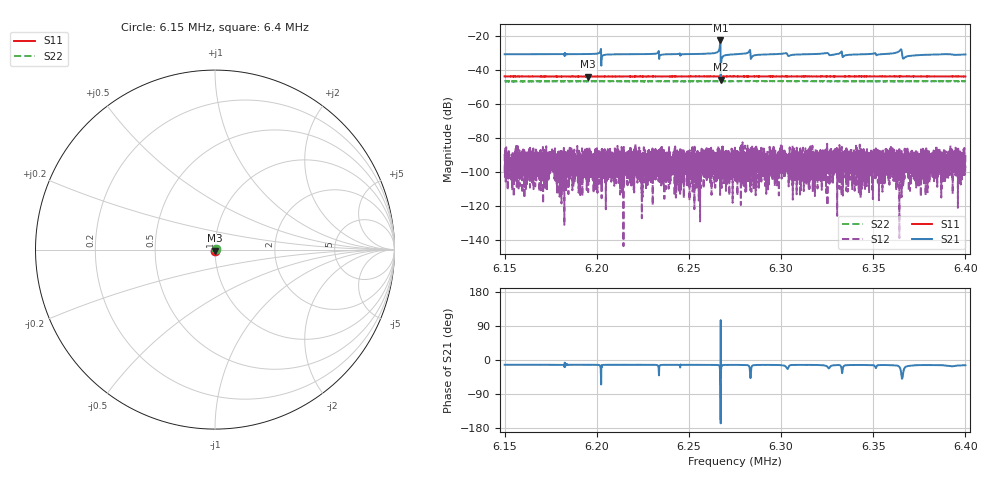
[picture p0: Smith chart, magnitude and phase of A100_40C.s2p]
!CETC41,AV3656A,ZGL00048,1.3.2
!Calibration ON (Full Solt 2-Port(Omit Isolation))
!Measurements: S11 S21 S12 S22
!2025-07-09 21:36
# Hz  S  dB  R 50.000
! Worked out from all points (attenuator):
!   6401 points, 6.15 MHz to 6.4 MHz, reference 50 ohm
!   highest |S21| = -22.76 dB at 6.2671 MHz (marker M1); lowest = -45.7 dB at 6.2673 MHz (marker M2)
!   lowest |S11| = -44.0 dB at 6.1953 MHz (marker M3), VSWR 1.01, Z = 50 - j0.633 ohm
!   |S11| at or under -10 dB: start of sweep to end of sweep
!   |S22| runs from -46.8 to -46.5 dB; largest |S21 - S12| = 0.073
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6150000  -43.81 -89.5  -30.84 -12.6  -89.28 -27.2  -46.75 27.1
6191680  -43.87 -89.5  -30.75 -12.7  -92.02 -55.1  -46.70 27.9
6195273  -43.98 -89.8  -30.71 -12.7  -95.46 138.5  -46.58 28.1
6201094  -43.93 -89.8  -30.18 -13.1  -88.58 146.4  -46.64 28.2
6203633  -43.92 -89.4  -31.38 -12.9  -97.10 -49.5  -46.62 28.1
6233359  -43.86 -89.5  -29.77 -16.4  -101.10 139.1  -46.62 27.8
6261914  -43.84 -89.6  -30.44 -12.8  -93.15 -3.8  -46.67 28.1
6265938  -43.82 -89.6  -29.21 -13.5  -84.53 67.2  -46.62 28.3
6267070  -43.84 -89.7  -22.76 -71.4  -95.93 123.6  -46.68 27.8
6267266  -43.82 -89.7  -45.69 105.1  -108.52 43.7  -46.67 27.8
6268477  -43.80 -89.5  -32.13 -13.4  -93.58 132.8  -46.62 28.0
6269883  -43.83 -89.5  -31.40 -13.0  -99.47 34.9  -46.57 28.3
6275000  -43.86 -89.6  -30.88 -12.9  -91.62 165.1  -46.59 28.0
6282109  -43.84 -89.8  -29.86 -14.2  -98.02 159.2  -46.61 27.9
6284688  -43.86 -89.6  -31.84 -14.3  -101.28 102.1  -46.61 28.0
6316680  -43.81 -89.2  -30.78 -13.1  -90.27 119.9  -46.64 27.8
6331875  -43.80 -89.3  -30.25 -13.7  -103.64 98.0  -46.61 27.7
6334453  -43.80 -89.4  -31.65 -14.7  -99.73 59.0  -46.63 28.1
6358359  -43.81 -89.6  -30.54 -13.4  -95.80 108.4  -46.68 28.1
6364375  -43.78 -89.3  -28.73 -19.2  -90.95 92.2  -46.66 28.4
6367109  -43.83 -89.3  -32.80 -20.1  -89.65 95.3  -46.62 28.0
6400000  -43.85 -89.0  -30.96 -13.9  -89.16 -1.1  -46.59 28.4
